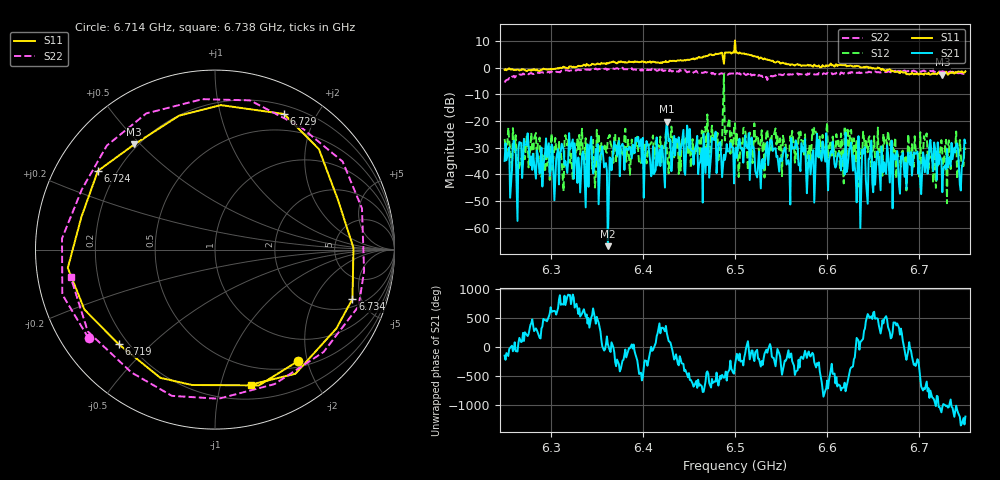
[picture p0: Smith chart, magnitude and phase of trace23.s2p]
# Hz S RI R 50
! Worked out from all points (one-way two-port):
!   401 points, 6.25 GHz to 6.75 GHz, reference 50 ohm
!   highest |S21| = -20.15 dB at 6.426 GHz (marker M1); lowest = -66.9 dB at 6.362 GHz (marker M2)
!   lowest |S11| = -2.6 dB at 6.725 GHz (marker M3), VSWR 6.66, Z = 9.29 + j24 ohm
!   |S11| at or under -10 dB: nowhere
!   |S22| runs from -5.5 to 0.0 dB; largest |S21 - S12| = 0.78
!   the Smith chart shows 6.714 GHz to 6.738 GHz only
!   S11 on the Smith chart (normalised r, x): 6.714 GHz: 0.59, -1.83; 6.719 GHz: 0.16, -0.40; 6.724 GHz: 0.13, +0.30; 6.729 GHz: 0.30, +1.59; 6.734 GHz: 2.59, -4.22; 6.738 GHz: 0.33, -1.25
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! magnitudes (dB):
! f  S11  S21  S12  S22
! 6.25 GHz  -0.7  -34.9  -26.7  -5.5
! 6.334 GHz  0.7  -32.8  -22.9  -0.8
! 6.362 GHz  1.6  -66.9  -26.6  -0.5
! 6.371 GHz  1.8  -29.1  -35.1  -0.3
! 6.418 GHz  1.8  -30.7  -29.6  -0.6
! 6.426 GHz  2.1  -20.1  -30.9  -1.3
! 6.5 GHz  10.2  -33.3  -20.8  -2.2
! 6.564 GHz  1.0  -30.1  -29.3  -2.3
! 6.584 GHz  0.6  -32.1  -23.1  -2.4
! 6.626 GHz  0.8  -28.1  -23.3  -1.6
! 6.634 GHz  0.6  -25.6  -44.5  -1.9
! 6.64 GHz  0.4  -30.6  -26.7  -1.6
! 6.668 GHz  -0.6  -43.0  -29.1  -1.5
! 6.714 GHz  -2.2  -35.0  -33.9  -1.3
! 6.719 GHz  -2.5  -42.0  -37.4  -1.6
! 6.724 GHz  -2.1  -35.0  -27.1  -1.6
! 6.725 GHz  -2.6  -46.6  -32.2  -1.3
! 6.729 GHz  -1.4  -38.0  -27.0  -1.3
! 6.734 GHz  -1.8  -36.9  -38.0  -1.4
! 6.738 GHz  -2.2  -30.0  -31.0  -1.7
! 6.745 GHz  -1.5  -46.0  -32.7  -2.0
! 6.75 GHz  -1.4  -28.2  -30.9  -2.1
